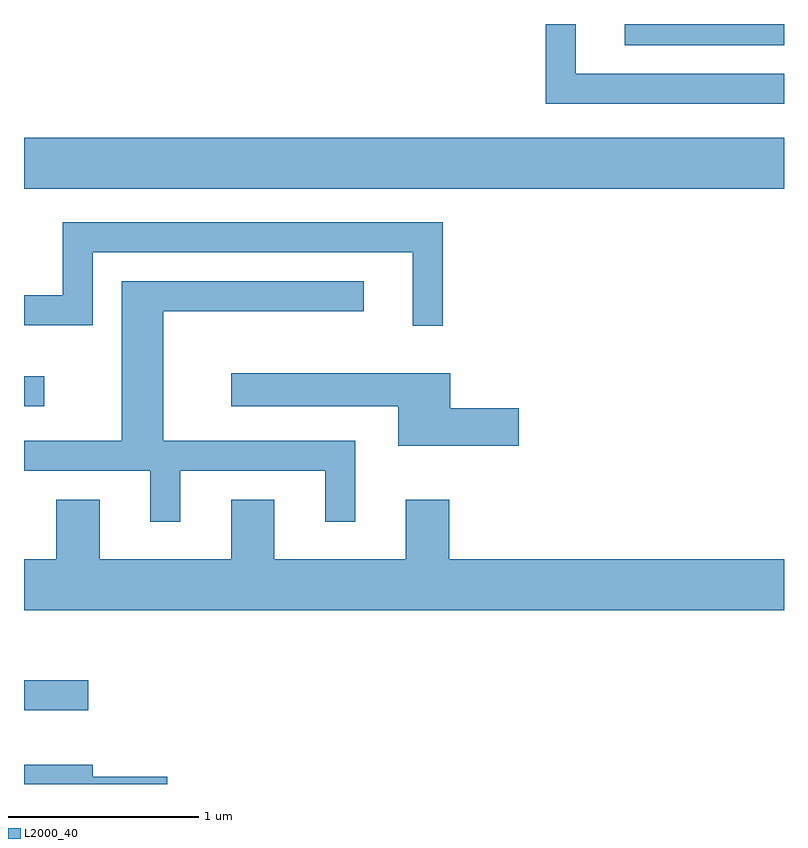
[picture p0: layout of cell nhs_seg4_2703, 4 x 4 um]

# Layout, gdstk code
import gdstk
lib = gdstk.Library(unit=1e-6, precision=1e-09)
def R(c, l, rs):  # rectangles x0, y0, x1, y1
    for r in rs: c.add(gdstk.rectangle(r[:2], r[2:], *l))
def P(c, l, *ps):  # polygons
    for p in ps: c.add(gdstk.Polygon(p, *l))
L2000_40 = (2000, 40)

nhs_seg4_2703 = lib.new_cell('nhs_seg4_2703')
R(nhs_seg4_2703, L2000_40, [(263.611,1356.371,263.948,1356.529), (263.611,1357.971,263.718,1358.129), (263.611,1359.116,267.611,1359.384), (266.773,1359.871,267.611,1359.982)])
P(nhs_seg4_2703, L2000_40, [(267.611,1359.719),(266.514,1359.719),(266.514,1359.982),(266.356,1359.982),(266.356,1359.561),(267.611,1359.561)],
  [(265.814,1358.939),(263.816,1358.939),(263.816,1358.554),(263.611,1358.554),(263.611,1358.396),(263.974,1358.396),(263.974,1358.781),(265.656,1358.781),(265.656,1358.393),(265.814,1358.393)],
  [(264.434,1357.631),(265.196,1357.631),(265.196,1357.363),(265.354,1357.363),(265.354,1357.789),(264.344,1357.789),(264.344,1358.471),(265.398,1358.471),(265.398,1358.629),(264.126,1358.629),(264.126,1357.789),(263.611,1357.789),(263.611,1357.631),(264.276,1357.631),(264.276,1357.363),(264.434,1357.363)],
  [(266.214,1357.959),(265.854,1357.959),(265.854,1358.144),(264.701,1358.144),(264.701,1357.971),(265.581,1357.971),(265.581,1357.761),(266.214,1357.761)],
  [(267.611,1357.164),(265.849,1357.164),(265.849,1357.479),(265.621,1357.479),(265.621,1357.164),(264.929,1357.164),(264.929,1357.479),(264.701,1357.479),(264.701,1357.164),(264.009,1357.164),(264.009,1357.479),(263.781,1357.479),(263.781,1357.164),(263.611,1357.164),(263.611,1356.896),(267.611,1356.896)],
  [(264.364,1356.019),(263.974,1356.019),(263.974,1356.084),(263.611,1356.084),(263.611,1355.982),(264.364,1355.982)])

lib.write_gds('nhs_seg4_2703.gds')
